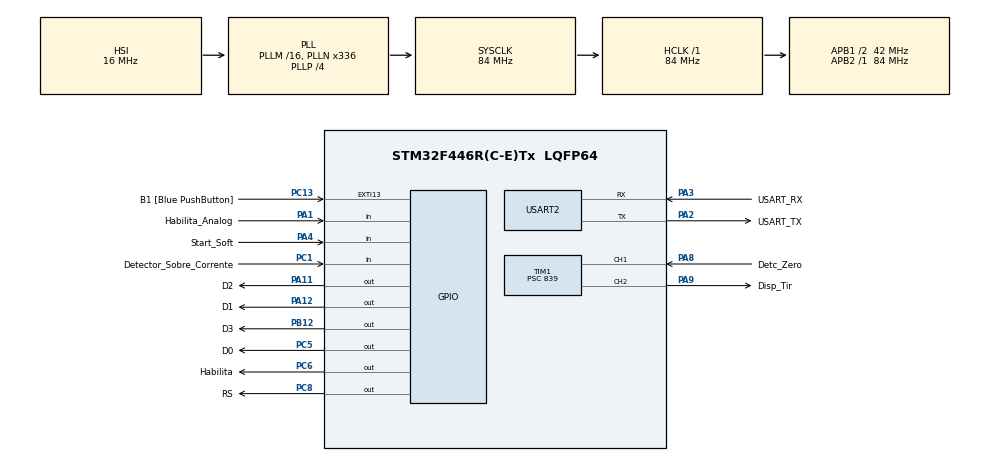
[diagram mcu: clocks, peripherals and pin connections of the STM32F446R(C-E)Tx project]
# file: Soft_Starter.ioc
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Dma.Request0=USART2_RX
Dma.USART2_RX.0.Direction=DMA_PERIPH_TO_MEMORY
Dma.USART2_RX.0.FIFOMode=DMA_FIFOMODE_ENABLE
Dma.USART2_RX.0.FIFOThreshold=DMA_FIFO_THRESHOLD_FULL
Dma.USART2_RX.0.Instance=DMA1_Stream5
Dma.USART2_RX.0.MemBurst=DMA_MBURST_SINGLE
Dma.USART2_RX.0.MemDataAlignment=DMA_MDATAALIGN_BYTE
Dma.USART2_RX.0.MemInc=DMA_MINC_ENABLE
Dma.USART2_RX.0.Mode=DMA_CIRCULAR
Dma.USART2_RX.0.PeriphBurst=DMA_PBURST_SINGLE
Dma.USART2_RX.0.PeriphDataAlignment=DMA_PDATAALIGN_BYTE
Dma.USART2_RX.0.PeriphInc=DMA_PINC_DISABLE
Dma.USART2_RX.0.Priority=DMA_PRIORITY_MEDIUM
FREERTOS.Tasks01=Comanda_Display,0,128,Comanda_Display_Task,Default,NULL,Dynamic,NULL,NULL;Leitura_Tempo,0,128,Leitura_Tempo_Task,Default,NULL,Dynamic,NULL,NULL;Disparo_Tirist,0,128,Disparo_Tirist_Task,Default,NULL,Dynamic,NULL,NULL;Comunica_PC,0,128,Comunica_PC_Task,Default,NULL,Dynamic,NULL,NULL;Start_Stop,0,128,Start_Stop_Task,Default,NULL,Dynamic,NULL,NULL;Detector_Corent,0,128,Detector_Corent_Task,Default,NULL,Dynamic,NULL,NULL
Mcu.Family=STM32F4
Mcu.Name=STM32F446R(C-E)Tx
Mcu.Package=LQFP64
NVIC.DMA1_Stream5_IRQn=true\:5\:0\:false\:false\:true\:true
NVIC.PriorityGroup=NVIC_PRIORITYGROUP_4
NVIC.TIM8_TRG_COM_TIM14_IRQn=true\:5\:0\:false\:false\:true\:true
NVIC.TimeBase=TIM8_TRG_COM_TIM14_IRQn
NVIC.TimeBaseIP=TIM14
PA1.GPIO_Label=Habilita_Analog
PA1.Signal=GPIO_Input
PA11.GPIO_Label=D2
PA11.Signal=GPIO_Output
PA12.GPIO_Label=D1
PA12.Signal=GPIO_Output
PA13.GPIO_Label=TMS
PA13.Signal=SYS_JTMS-SWDIO
PA14.GPIO_Label=TCK
PA14.Signal=SYS_JTCK-SWCLK
PA2.GPIO_Label=USART_TX
PA2.Mode=Asynchronous
PA2.Signal=USART2_TX
PA3.GPIO_Label=USART_RX
PA3.Mode=Asynchronous
PA3.Signal=USART2_RX
PA4.GPIO_Label=Start_Soft
PA4.Signal=GPIO_Input
PA8.GPIO_Label=Detc_Zero
PA8.Signal=S_TIM1_CH1
PA9.GPIO_Label=Disp_Tir
PA9.Signal=S_TIM1_CH2
PB12.GPIO_Label=D3
PB12.Signal=GPIO_Output
PB3.GPIO_Label=SWO
PB3.Signal=SYS_JTDO-SWO
PC1.GPIO_Label=Detector_Sobre_Corrente
PC1.Signal=GPIO_Input
PC13.GPIO_Label=B1 [Blue PushButton]
PC13.GPIO_ModeDefaultEXTI=GPIO_MODE_IT_FALLING
PC13.Signal=GPXTI13
PC14-OSC32_IN.Signal=RCC_OSC32_IN
PC15-OSC32_OUT.Signal=RCC_OSC32_OUT
PC5.GPIO_Label=D0
PC5.Signal=GPIO_Output
PC6.GPIO_Label=Habilita
PC6.Signal=GPIO_Output
PC8.GPIO_Label=RS
PC8.Signal=GPIO_Output
PH0-OSC_IN.Signal=RCC_OSC_IN
PH1-OSC_OUT.Signal=RCC_OSC_OUT
ProjectManager.HeapSize=0x200
ProjectManager.StackSize=0x400
ProjectManager.TargetToolchain=SW4STM32
RCC.AHBFreq_Value=84000000
RCC.APB1CLKDivider=RCC_HCLK_DIV2
RCC.APB1Freq_Value=42000000
RCC.APB1TimFreq_Value=84000000
RCC.APB2Freq_Value=84000000
RCC.APB2TimFreq_Value=84000000
RCC.CortexFreq_Value=84000000
RCC.FLatency-AdvancedSettings=FLASH_LATENCY_2
RCC.HCLKFreq_Value=84000000
RCC.HSE_VALUE=8000000
RCC.HSI_VALUE=16000000
RCC.LSE_VALUE=32768
RCC.PLLN=336
RCC.PLLP=RCC_PLLP_DIV4
RCC.SYSCLKFreq_VALUE=84000000
RCC.SYSCLKSource=RCC_SYSCLKSOURCE_PLLCLK
RCC.USBFreq_Value=168000000
RCC.VCOOutputFreq_Value=336000000
SH.S_TIM1_CH1.0=TIM1_CH1,TriggerSource_TI1FP1
SH.S_TIM1_CH2.0=TIM1_CH2,PWM Generation2 CH2
TIM1.Channel-PWM\ Generation2\ CH2=TIM_CHANNEL_2
TIM1.OCMode_PWM-PWM\ Generation2\ CH2=TIM_OCMODE_PWM2
TIM1.Period=829
TIM1.Prescaler=839
TIM1.Slave_TriggerFilter=10
TIM13.Period=684
TIM13.Prescaler=839
TIM8.Period=4999
TIM8.Prescaler=8399
TIM8.TIM_MasterOutputTrigger=TIM_TRGO_UPDATE
VP_FREERTOS_VS_ENABLE.Mode=Enabled
VP_SYS_VS_tim14.Mode=TIM14
VP_TIM13_VS_ClockSourceINT.Mode=Enable_Timer
VP_TIM1_VS_ClockSourceINT.Mode=Internal
VP_TIM1_VS_ControllerModeTrigger.Mode=Trigger Mode
VP_TIM1_VS_OPM.Mode=OPM_bit
VP_TIM8_VS_ClockSourceINT.Mode=Internal
board=NUCLEO-F446RE

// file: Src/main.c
/**
  ******************************************************************************
  * File Name          : main.c
  * Description        : Main program body
  ******************************************************************************
  *
  * Copyright (c) 2018 STMicroelectronics International N.V.
  * All rights reserved.
  *
  * Redistribution and use in source and binary forms, with or without
  * modification, are permitted, provided that the following conditions are met:
  *
  * 1. Redistribution of source code must retain the above copyright notice,
  *    this list of conditions and the following disclaimer.
  * 2. Redistributions in binary form must reproduce the above copyright notice,
  *    this list of conditions and the following disclaimer in the documentation
  *    and/or other materials provided with the distribution.
  * 3. Neither the name of STMicroelectronics nor the names of other
  *    contributors to this software may be used to endorse or promote products
  *    derived from this software without specific written permission.
  * 4. This software, including modifications and/or derivative works of this
  *    software, must execute solely and exclusively on microcontroller or
  *    microprocessor devices manufactured by or for STMicroelectronics.
  * 5. Redistribution and use of this software other than as permitted under
  *    this license is void and will automatically terminate your rights under
  *    this license.
  *
  * THIS SOFTWARE IS PROVIDED BY STMICROELECTRONICS AND CONTRIBUTORS "AS IS"
  * AND ANY EXPRESS, IMPLIED OR STATUTORY WARRANTIES, INCLUDING, BUT NOT
  * LIMITED TO, THE IMPLIED WARRANTIES OF MERCHANTABILITY, FITNESS FOR A
  * PARTICULAR PURPOSE AND NON-INFRINGEMENT OF THIRD PARTY INTELLECTUAL PROPERTY
  * RIGHTS ARE DISCLAIMED TO THE FULLEST EXTENT PERMITTED BY LAW. IN NO EVENT
  * SHALL STMICROELECTRONICS OR CONTRIBUTORS BE LIABLE FOR ANY DIRECT, INDIRECT,
  * INCIDENTAL, SPECIAL, EXEMPLARY, OR CONSEQUENTIAL DAMAGES (INCLUDING, BUT NOT
  * LIMITED TO, PROCUREMENT OF SUBSTITUTE GOODS OR SERVICES; LOSS OF USE, DATA,
  * OR PROFITS; OR BUSINESS INTERRUPTION) HOWEVER CAUSED AND ON ANY THEORY OF
  * LIABILITY, WHETHER IN CONTRACT, STRICT LIABILITY, OR TORT (INCLUDING
  * NEGLIGENCE OR OTHERWISE) ARISING IN ANY WAY OUT OF THE USE OF THIS SOFTWARE,
  * EVEN IF ADVISED OF THE POSSIBILITY OF SUCH DAMAGE.
  *
  ******************************************************************************
  */
#include "main.h"
#include "stm32f4xx_hal.h"
#include "cmsis_os.h"

/* USER CODE BEGIN Includes */

#include "lcd.h"

/* USER CODE END Includes */

TIM_HandleTypeDef htim1;
TIM_HandleTypeDef htim8;
TIM_HandleTypeDef htim13;

UART_HandleTypeDef huart2;
DMA_HandleTypeDef hdma_usart2_rx;

osThreadId Comanda_DisplayHandle;
osThreadId Leitura_TempoHandle;
osThreadId Disparo_TiristHandle;
osThreadId Comunica_PCHandle;
osThreadId Start_StopHandle;
osThreadId Detector_CorentHandle;

/* USER CODE BEGIN PV */
/* Private variables ---------------------------------------------------------*/

#define SERIAL_TIMEOUT 10

int Desloca_Pulso = 730;
int Tempo_Estouro = 0;
int Tempo_Subida = 5;
int Tempo_Descida = 0;
int RPM = 0;
uint16_t Tempo_ARR_13 = 0;
uint8_t Comando = 0;
uint8_t Alerta = 0;
uint8_t Estado = 0;				//(0->Parado)(1->Partindo)(2->Girando)(3->Parando)
uint8_t T_Recebe_Tempo[5];
uint8_t T_Comandos;
uint8_t Flag;
uint8_t Confirma[128];
uint8_t Chave = 0;
int Estagio_Com = 0;

/* USER CODE END PV */

void SystemClock_Config(void);
void Error_Handler(void);
static void MX_GPIO_Init(void);
static void MX_DMA_Init(void);
static void MX_TIM1_Init(void);
static void MX_TIM13_Init(void);
static void MX_TIM8_Init(void);
static void MX_USART2_UART_Init(void);
void Comanda_Display_Task(void const * argument);
void Leitura_Tempo_Task(void const * argument);
void Disparo_Tirist_Task(void const * argument);
void Comunica_PC_Task(void const * argument);
void Start_Stop_Task(void const * argument);
void Detector_Corent_Task(void const * argument);
void HAL_TIM_MspPostInit(TIM_HandleTypeDef *htim);

/* USER CODE BEGIN PFP */
/* Private function prototypes -----------------------------------------------*/

/* USER CODE END PFP */

int main(void)
{

  /* MCU Configuration----------------------------------------------------------*/

  /* Reset of all peripherals, Initializes the Flash interface and the Systick. */
  HAL_Init();

  /* Configure the system clock */
  SystemClock_Config();

  /* Initialize all configured peripherals */
  MX_GPIO_Init();
  MX_DMA_Init();
  MX_TIM1_Init();
  MX_TIM13_Init();
  MX_TIM8_Init();
  MX_USART2_UART_Init();

  /* USER CODE BEGIN 2 */
  HAL_TIM_Base_Start(&htim13);
  HAL_TIM_Base_Start_IT(&htim1);
  HAL_TIM_PWM_Start(&htim1, TIM_CHANNEL_2);

  lcd_init();
  lcd_puts("Teste Display");
  sprintf(Confirma,"OLA  \r\n");

  /* USER CODE END 2 */

  /* Create the thread(s) */
  /* definition and creation of Comanda_Display */
  osThreadDef(Comanda_Display, Comanda_Display_Task, osPriorityNormal, 0, 128);
  Comanda_DisplayHandle = osThreadCreate(osThread(Comanda_Display), NULL);

  /* definition and creation of Leitura_Tempo */
  osThreadDef(Leitura_Tempo, Leitura_Tempo_Task, osPriorityNormal, 0, 128);
  Leitura_TempoHandle = osThreadCreate(osThread(Leitura_Tempo), NULL);

  /* definition and creation of Disparo_Tirist */
  osThreadDef(Disparo_Tirist, Disparo_Tirist_Task, osPriorityNormal, 0, 128);
  Disparo_TiristHandle = osThreadCreate(osThread(Disparo_Tirist), NULL);

  /* definition and creation of Comunica_PC */
  osThreadDef(Comunica_PC, Comunica_PC_Task, osPriorityNormal, 0, 128);
  Comunica_PCHandle = osThreadCreate(osThread(Comunica_PC), NULL);

  /* definition and creation of Start_Stop */
  osThreadDef(Start_Stop, Start_Stop_Task, osPriorityNormal, 0, 128);
  Start_StopHandle = osThreadCreate(osThread(Start_Stop), NULL);

  /* definition and creation of Detector_Corent */
  osThreadDef(Detector_Corent, Detector_Corent_Task, osPriorityNormal, 0, 128);
  Detector_CorentHandle = osThreadCreate(osThread(Detector_Corent), NULL);

  /* Start scheduler */
  osKernelStart();

  /* We should never get here as control is now taken by the scheduler */

  /* Infinite loop */
  while (1)
  {

  }

}

/** System Clock Configuration
*/
void SystemClock_Config(void)
{

  RCC_OscInitTypeDef RCC_OscInitStruct;
  RCC_ClkInitTypeDef RCC_ClkInitStruct;

    /**Configure the main internal regulator output voltage
    */
  __HAL_RCC_PWR_CLK_ENABLE();

  __HAL_PWR_VOLTAGESCALING_CONFIG(PWR_REGULATOR_VOLTAGE_SCALE3);

    /**Initializes the CPU, AHB and APB busses clocks
    */
  RCC_OscInitStruct.OscillatorType = RCC_OSCILLATORTYPE_HSI;
  RCC_OscInitStruct.HSIState = RCC_HSI_ON;
  RCC_OscInitStruct.HSICalibrationValue = 16;
  RCC_OscInitStruct.PLL.PLLState = RCC_PLL_ON;
  RCC_OscInitStruct.PLL.PLLSource = RCC_PLLSOURCE_HSI;
  RCC_OscInitStruct.PLL.PLLM = 16;
  RCC_OscInitStruct.PLL.PLLN = 336;
  RCC_OscInitStruct.PLL.PLLP = RCC_PLLP_DIV4;
  RCC_OscInitStruct.PLL.PLLQ = 2;
  RCC_OscInitStruct.PLL.PLLR = 2;
  if (HAL_RCC_OscConfig(&RCC_OscInitStruct) != HAL_OK)
  {
    Error_Handler();
  }

    /**Initializes the CPU, AHB and APB busses clocks
    */
  RCC_ClkInitStruct.ClockType = RCC_CLOCKTYPE_HCLK|RCC_CLOCKTYPE_SYSCLK
                              |RCC_CLOCKTYPE_PCLK1|RCC_CLOCKTYPE_PCLK2;
  RCC_ClkInitStruct.SYSCLKSource = RCC_SYSCLKSOURCE_PLLCLK;
  RCC_ClkInitStruct.AHBCLKDivider = RCC_SYSCLK_DIV1;
  RCC_ClkInitStruct.APB1CLKDivider = RCC_HCLK_DIV2;
  RCC_ClkInitStruct.APB2CLKDivider = RCC_HCLK_DIV1;

  if (HAL_RCC_ClockConfig(&RCC_ClkInitStruct, FLASH_LATENCY_2) != HAL_OK)
  {
    Error_Handler();
  }

    /**Configure the Systick interrupt time
    */
  HAL_SYSTICK_Config(HAL_RCC_GetHCLKFreq()/1000);

    /**Configure the Systick
    */
  HAL_SYSTICK_CLKSourceConfig(SYSTICK_CLKSOURCE_HCLK);

  /* SysTick_IRQn interrupt configuration */
  HAL_NVIC_SetPriority(SysTick_IRQn, 15, 0);
}

/* TIM1 init function */
static void MX_TIM1_Init(void)
{

  TIM_ClockConfigTypeDef sClockSourceConfig;
  TIM_SlaveConfigTypeDef sSlaveConfig;
  TIM_MasterConfigTypeDef sMasterConfig;
  TIM_OC_InitTypeDef sConfigOC;
  TIM_BreakDeadTimeConfigTypeDef sBreakDeadTimeConfig;

  htim1.Instance = TIM1;
  htim1.Init.Prescaler = 839;
  htim1.Init.CounterMode = TIM_COUNTERMODE_UP;
  htim1.Init.Period = 829;
  htim1.Init.ClockDivision = TIM_CLOCKDIVISION_DIV1;
  htim1.Init.RepetitionCounter = 0;
  if (HAL_TIM_Base_Init(&htim1) != HAL_OK)
  {
    Error_Handler();
  }

  sClockSourceConfig.ClockSource = TIM_CLOCKSOURCE_INTERNAL;
  if (HAL_TIM_ConfigClockSource(&htim1, &sClockSourceConfig) != HAL_OK)
  {
    Error_Handler();
  }

  if (HAL_TIM_PWM_Init(&htim1) != HAL_OK)
  {
    Error_Handler();
  }

  if (HAL_TIM_OnePulse_Init(&htim1, TIM_OPMODE_SINGLE) != HAL_OK)
  {
    Error_Handler();
  }

  sSlaveConfig.SlaveMode = TIM_SLAVEMODE_TRIGGER;
  sSlaveConfig.InputTrigger = TIM_TS_TI1FP1;
  sSlaveConfig.TriggerPolarity = TIM_TRIGGERPOLARITY_RISING;
  sSlaveConfig.TriggerFilter = 10;
  if (HAL_TIM_SlaveConfigSynchronization(&htim1, &sSlaveConfig) != HAL_OK)
  {
    Error_Handler();
  }

  sMasterConfig.MasterOutputTrigger = TIM_TRGO_RESET;
  sMasterConfig.MasterSlaveMode = TIM_MASTERSLAVEMODE_DISABLE;
  if (HAL_TIMEx_MasterConfigSynchronization(&htim1, &sMasterConfig) != HAL_OK)
  {
    Error_Handler();
  }

  sConfigOC.OCMode = TIM_OCMODE_PWM2;
  sConfigOC.Pulse = 0;
  sConfigOC.OCPolarity = TIM_OCPOLARITY_HIGH;
  sConfigOC.OCNPolarity = TIM_OCNPOLARITY_HIGH;
  sConfigOC.OCFastMode = TIM_OCFAST_DISABLE;
  sConfigOC.OCIdleState = TIM_OCIDLESTATE_RESET;
  sConfigOC.OCNIdleState = TIM_OCNIDLESTATE_RESET;
  if (HAL_TIM_PWM_ConfigChannel(&htim1, &sConfigOC, TIM_CHANNEL_2) != HAL_OK)
  {
    Error_Handler();
  }

  sBreakDeadTimeConfig.OffStateRunMode = TIM_OSSR_DISABLE;
  sBreakDeadTimeConfig.OffStateIDLEMode = TIM_OSSI_DISABLE;
  sBreakDeadTimeConfig.LockLevel = TIM_LOCKLEVEL_OFF;
  sBreakDeadTimeConfig.DeadTime = 0;
  sBreakDeadTimeConfig.BreakState = TIM_BREAK_DISABLE;
  sBreakDeadTimeConfig.BreakPolarity = TIM_BREAKPOLARITY_HIGH;
  sBreakDeadTimeConfig.AutomaticOutput = TIM_AUTOMATICOUTPUT_DISABLE;
  if (HAL_TIMEx_ConfigBreakDeadTime(&htim1, &sBreakDeadTimeConfig) != HAL_OK)
  {
    Error_Handler();
  }

  HAL_TIM_MspPostInit(&htim1);

}

/* TIM8 init function */
static void MX_TIM8_Init(void)
{

  TIM_ClockConfigTypeDef sClockSourceConfig;
  TIM_MasterConfigTypeDef sMasterConfig;

  htim8.Instance = TIM8;
  htim8.Init.Prescaler = 8399;
  htim8.Init.CounterMode = TIM_COUNTERMODE_UP;
  htim8.Init.Period = 4999;
  htim8.Init.ClockDivision = TIM_CLOCKDIVISION_DIV1;
  htim8.Init.RepetitionCounter = 0;
  if (HAL_TIM_Base_Init(&htim8) != HAL_OK)
  {
    Error_Handler();
  }

  sClockSourceConfig.ClockSource = TIM_CLOCKSOURCE_INTERNAL;
  if (HAL_TIM_ConfigClockSource(&htim8, &sClockSourceConfig) != HAL_OK)
  {
    Error_Handler();
  }

  sMasterConfig.MasterOutputTrigger = TIM_TRGO_UPDATE;
  sMasterConfig.MasterSlaveMode = TIM_MASTERSLAVEMODE_DISABLE;
  if (HAL_TIMEx_MasterConfigSynchronization(&htim8, &sMasterConfig) != HAL_OK)
  {
    Error_Handler();
  }

}

/* TIM13 init function */
static void MX_TIM13_Init(void)
{

  htim13.Instance = TIM13;
  htim13.Init.Prescaler = 839;
  htim13.Init.CounterMode = TIM_COUNTERMODE_UP;
  htim13.Init.Period = 684;
  htim13.Init.ClockDivision = TIM_CLOCKDIVISION_DIV1;
  if (HAL_TIM_Base_Init(&htim13) != HAL_OK)
  {
    Error_Handler();
  }

}

/* USART2 init function */
static void MX_USART2_UART_Init(void)
{

  huart2.Instance = USART2;
  huart2.Init.BaudRate = 115200;
  huart2.Init.WordLength = UART_WORDLENGTH_8B;
  huart2.Init.StopBits = UART_STOPBITS_1;
  huart2.Init.Parity = UART_PARITY_NONE;
  huart2.Init.Mode = UART_MODE_TX_RX;
  huart2.Init.HwFlowCtl = UART_HWCONTROL_NONE;
  huart2.Init.OverSampling = UART_OVERSAMPLING_16;
  if (HAL_UART_Init(&huart2) != HAL_OK)
  {
    Error_Handler();
  }

}

static void MX_DMA_Init(void)
{
  /* DMA controller clock enable */
  __HAL_RCC_DMA1_CLK_ENABLE();

  /* DMA interrupt init */
  /* DMA1_Stream5_IRQn interrupt configuration */
  HAL_NVIC_SetPriority(DMA1_Stream5_IRQn, 5, 0);
  HAL_NVIC_EnableIRQ(DMA1_Stream5_IRQn);

}

/** Configure pins as
        * Analog
        * Input
        * Output
        * EVENT_OUT
        * EXTI
*/
static void MX_GPIO_Init(void)
{

  GPIO_InitTypeDef GPIO_InitStruct;

  /* GPIO Ports Clock Enable */
  __HAL_RCC_GPIOC_CLK_ENABLE();
  __HAL_RCC_GPIOH_CLK_ENABLE();
  __HAL_RCC_GPIOA_CLK_ENABLE();
  __HAL_RCC_GPIOB_CLK_ENABLE();

  /*Configure GPIO pin Output Level */
  HAL_GPIO_WritePin(GPIOC, D0_Pin|Habilita_Pin|RS_Pin, GPIO_PIN_RESET);

  /*Configure GPIO pin Output Level */
  HAL_GPIO_WritePin(D3_GPIO_Port, D3_Pin, GPIO_PIN_RESET);

  /*Configure GPIO pin Output Level */
  HAL_GPIO_WritePin(GPIOA, D2_Pin|D1_Pin, GPIO_PIN_RESET);

  /*Configure GPIO pin : B1_Pin */
  GPIO_InitStruct.Pin = B1_Pin;
  GPIO_InitStruct.Mode = GPIO_MODE_IT_FALLING;
  GPIO_InitStruct.Pull = GPIO_NOPULL;
  HAL_GPIO_Init(B1_GPIO_Port, &GPIO_InitStruct);

  /*Configure GPIO pin : Detector_Sobre_Corrente_Pin */
  GPIO_InitStruct.Pin = Detector_Sobre_Corrente_Pin;
  GPIO_InitStruct.Mode = GPIO_MODE_INPUT;
  GPIO_InitStruct.Pull = GPIO_NOPULL;
  HAL_GPIO_Init(Detector_Sobre_Corrente_GPIO_Port, &GPIO_InitStruct);

  /*Configure GPIO pins : Habilita_Analog_Pin Start_Soft_Pin */
  GPIO_InitStruct.Pin = Habilita_Analog_Pin|Start_Soft_Pin;
  GPIO_InitStruct.Mode = GPIO_MODE_INPUT;
  GPIO_InitStruct.Pull = GPIO_NOPULL;
  HAL_GPIO_Init(GPIOA, &GPIO_InitStruct);

  /*Configure GPIO pins : D0_Pin Habilita_Pin RS_Pin */
  GPIO_InitStruct.Pin = D0_Pin|Habilita_Pin|RS_Pin;
  GPIO_InitStruct.Mode = GPIO_MODE_OUTPUT_PP;
  GPIO_InitStruct.Pull = GPIO_NOPULL;
  GPIO_InitStruct.Speed = GPIO_SPEED_FREQ_LOW;
  HAL_GPIO_Init(GPIOC, &GPIO_InitStruct);

  /*Configure GPIO pin : D3_Pin */
  GPIO_InitStruct.Pin = D3_Pin;
  GPIO_InitStruct.Mode = GPIO_MODE_OUTPUT_PP;
  GPIO_InitStruct.Pull = GPIO_NOPULL;
  GPIO_InitStruct.Speed = GPIO_SPEED_FREQ_LOW;
  HAL_GPIO_Init(D3_GPIO_Port, &GPIO_InitStruct);

  /*Configure GPIO pins : D2_Pin D1_Pin */
  GPIO_InitStruct.Pin = D2_Pin|D1_Pin;
  GPIO_InitStruct.Mode = GPIO_MODE_OUTPUT_PP;
  GPIO_InitStruct.Pull = GPIO_NOPULL;
  GPIO_InitStruct.Speed = GPIO_SPEED_FREQ_LOW;
  HAL_GPIO_Init(GPIOA, &GPIO_InitStruct);

}

/* Comanda_Display_Task function */
void Comanda_Display_Task(void const * argument)
{

  /* USER CODE BEGIN 5 */
  /* Infinite loop */
  for(;;)
  {

	  if(Comando != 0){
		  lcd_clear();
	  }
	  switch(Comando){
	  case 1:
		  lcd_puts("Partindo");
		  break;
	  case 2:
		  lcd_puts("Girando");
		  break;
	  case 3:
		  lcd_puts("Desacelerando");
		  break;
	  case 4:
		  lcd_puts("Parado");
		  break;
	  case 5:
		  lcd_puts("RPM = ");
		  lcd_printd(RPM);
		  break;
	  case 6:
		  lcd_puts("Sobre-Corrente");
		  break;
	  case 7:
		  lcd_puts("Teste Display");
		  break;
	  case 8:
		  lcd_puts("Teste Display");
		  break;
	  case 9:
		  lcd_puts("Teste Display");
		  break;
	  }
	  Comando = 0;
    osDelay(1);
  }
  /* USER CODE END 5 */
}

/* Leitura_Tempo_Task function */
void Leitura_Tempo_Task(void const * argument)
{
  /* USER CODE BEGIN Leitura_Tempo_Task */
  /* Infinite loop */
  for(;;)
  {
	   if((Tempo_Subida>4)&&(Tempo_Subida<51)&&(Tempo_Subida != Tempo_Descida)){

		  Tempo_ARR_13 = (Tempo_Subida*100000)/730;
		  __HAL_TIM_SET_AUTORELOAD(&htim13, Tempo_ARR_13);
		  Tempo_Descida = Tempo_Subida;

	  }
    osDelay(1);
  }
  /* USER CODE END Leitura_Tempo_Task */
}

/* Disparo_Tirist_Task function */
void Disparo_Tirist_Task(void const * argument)
{
  /* USER CODE BEGIN Disparo_Tirist_Task */
  /* Infinite loop */
  for(;;)
  {
	  if(1 == __HAL_TIM_GET_FLAG(&htim13, TIM_FLAG_UPDATE)){
	 		  __HAL_TIM_CLEAR_FLAG(&htim13, TIM_FLAG_UPDATE);
	 		  switch(Estado){

	 		  case 1:
	 			  Desloca_Pulso--;
	 			  __HAL_TIM_SET_COMPARE(&htim1, TIM_CHANNEL_2, Desloca_Pulso);
	 			  __HAL_TIM_SET_AUTORELOAD(&htim1, (Desloca_Pulso+50));

	 			  if(Desloca_Pulso<2){
	 				  Estado = 2;
	 				  Comando = 2;
	 				  Flag = 1;
	 			  }
	 			  break;

	 		  case 3:
	 			  Desloca_Pulso++;

	 			  __HAL_TIM_SET_AUTORELOAD(&htim1, (Desloca_Pulso+50));
	 			  __HAL_TIM_SET_COMPARE(&htim1, TIM_CHANNEL_2, Desloca_Pulso);

	 			  if(Desloca_Pulso>730){

	 				  Estado = 0;
	 				  Comando = 4;
	 				  Flag = 1;
	 			  }
	 			  break;
	 		  }
	  }
    osDelay(1);
  }
  /* USER CODE END Disparo_Tirist_Task */
}

/* Comunica_PC_Task function */
void Comunica_PC_Task(void const * argument)
{
  /* USER CODE BEGIN Comunica_PC_Task */
  /* Infinite loop */
  for(;;)
  {

			switch(Estagio_Com){
			case 0:
				if(HAL_UART_Receive(&huart2, &T_Comandos,1, SERIAL_TIMEOUT)==HAL_OK){
					if(T_Comandos == 't') Estagio_Com = 1;
					if(T_Comandos == 'd') Chave = 1;
				}
				break;
			case 1:
				if(HAL_UART_Receive(&huart2, &T_Recebe_Tempo[0], 3, 0x5000)==HAL_OK){
				Tempo_Subida = (((T_Recebe_Tempo[1])-48)*10)+((T_Recebe_Tempo[2])-48);
				}
				Estagio_Com = 0;
				break;
			case 2:
				break;
			case 3:
				break;
			case 4:
				break;
			case 5:
				break;
			case 6:
				break;
			}

    osDelay(1);
  }
  /* USER CODE END Comunica_PC_Task */
}

/* Start_Stop_Task function */
void Start_Stop_Task(void const * argument)
{
  /* USER CODE BEGIN Start_Stop_Task */
  /* Infinite loop */
  for(;;)
  {

	//if(HAL_GPIO_ReadPin(Start_Soft_GPIO_Port, Start_Soft_Pin)){
	 if(Chave){
		  Chave = 0;
		switch(Estado){

			 case 0:
				 Desloca_Pulso = 730;
				__HAL_TIM_SET_COUNTER(&htim13, 0);
			  	Estado = 1;
			  	Comando = 1;
			  	Flag = 1;
			  	break;

			 case 2:
				 Desloca_Pulso = 0;
				 __HAL_TIM_SET_COUNTER(&htim13, 0);   //(0->Parado)(1->Partindo)(2->Girando)(3->Parando)
				Estado = 3;
				Comando = 3;
				Flag = 1;
				break;
		}
	 }
    osDelay(1);
  }
  /* USER CODE END Start_Stop_Task */
}

/* Detector_Corent_Task function */
void Detector_Corent_Task(void const * argument)
{
  /* USER CODE BEGIN Detector_Corent_Task */
  /* Infinite loop */
  for(;;)
  {
	  Alerta = !HAL_GPIO_ReadPin(Detector_Sobre_Corrente_GPIO_Port,Detector_Sobre_Corrente_Pin);
	  //Comando = 6;
    osDelay(1);
  }
  /* USER CODE END Detector_Corent_Task */
}

void HAL_TIM_PeriodElapsedCallback(TIM_HandleTypeDef *htim)
{
  if (htim->Instance == TIM14) {
    HAL_IncTick();
  }
}

void Error_Handler(void)
{
  while(1)
  {
  }
}

/************************ (C) COPYRIGHT STMicroelectronics *****END OF FILE****/
